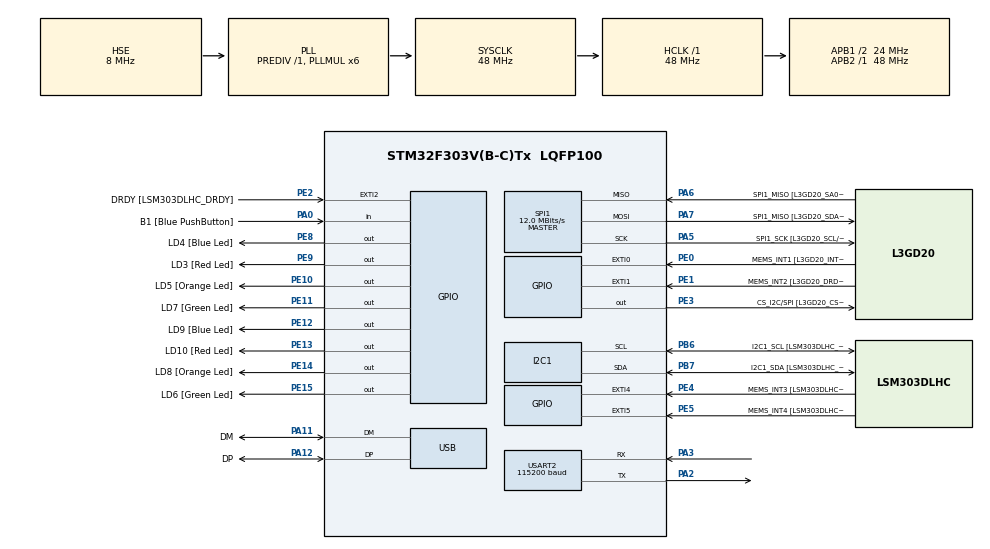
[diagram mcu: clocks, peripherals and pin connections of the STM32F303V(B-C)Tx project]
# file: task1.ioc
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I2C1.Timing=0x2000090E
I2C1.Timing-I2C=0x2000090E
Mcu.Family=STM32F3
Mcu.Name=STM32F303V(B-C)Tx
Mcu.Package=LQFP100
NVIC.PriorityGroup=NVIC_PRIORITYGROUP_0
PA0.GPIO_Label=B1 [Blue PushButton]
PA0.Signal=GPIO_Input
PA11.GPIO_Label=DM
PA11.Mode=Device
PA11.Signal=USB_DM
PA12.GPIO_Label=DP
PA12.Mode=Device
PA12.Signal=USB_DP
PA13.GPIO_Label=SWDIO
PA13.Mode=Serial_Wire
PA13.Signal=SYS_JTMS-SWDIO
PA14.GPIO_Label=SWCLK
PA14.Mode=Serial_Wire
PA14.Signal=SYS_JTCK-SWCLK
PA2.Mode=Asynchronous
PA2.Signal=USART2_TX
PA3.Mode=Asynchronous
PA3.Signal=USART2_RX
PA5.GPIO_Label=SPI1_SCK [L3GD20_SCL/SPC]
PA5.Mode=Full_Duplex_Master
PA5.Signal=SPI1_SCK
PA6.GPIO_Label=SPI1_MISO [L3GD20_SA0/SDO]
PA6.Mode=Full_Duplex_Master
PA6.Signal=SPI1_MISO
PA7.GPIO_Label=SPI1_MISO [L3GD20_SDA/SDI/SDO]
PA7.Mode=Full_Duplex_Master
PA7.Signal=SPI1_MOSI
PB3.GPIO_Label=SWO
PB3.Signal=SYS_JTDO-TRACESWO
PB6.GPIO_Label=I2C1_SCL [LSM303DLHC_SCL]
PB6.GPIO_Pu=GPIO_PULLUP
PB6.Mode=I2C
PB6.Signal=I2C1_SCL
PB7.GPIO_Label=I2C1_SDA [LSM303DLHC_SDA]
PB7.GPIO_Pu=GPIO_PULLUP
PB7.Mode=I2C
PB7.Signal=I2C1_SDA
PC14-OSC32_IN.GPIO_Label=OSC32_IN
PC14-OSC32_IN.Signal=RCC_OSC32_IN
PC15-OSC32_OUT.GPIO_Label=OSC32_OUT
PC15-OSC32_OUT.Signal=RCC_OSC32_OUT
PE0.GPIO_Label=MEMS_INT1 [L3GD20_INT1]
PE0.GPIO_ModeDefaultEXTI=GPIO_MODE_EVT_RISING
PE0.Signal=GPXTI0
PE1.GPIO_Label=MEMS_INT2 [L3GD20_DRDY/INT2]
PE1.GPIO_ModeDefaultEXTI=GPIO_MODE_EVT_RISING
PE1.Signal=GPXTI1
PE10.GPIO_Label=LD5 [Orange Led]
PE10.Signal=GPIO_Output
PE11.GPIO_Label=LD7 [Green Led]
PE11.Signal=GPIO_Output
PE12.GPIO_Label=LD9 [Blue Led]
PE12.Signal=GPIO_Output
PE13.GPIO_Label=LD10 [Red Led]
PE13.Signal=GPIO_Output
PE14.GPIO_Label=LD8 [Orange Led]
PE14.Signal=GPIO_Output
PE15.GPIO_Label=LD6 [Green Led]
PE15.Signal=GPIO_Output
PE2.GPIO_Label=DRDY [LSM303DLHC_DRDY]
PE2.GPIO_ModeDefaultEXTI=GPIO_MODE_EVT_RISING
PE2.Signal=GPXTI2
PE3.GPIO_Label=CS_I2C/SPI [L3GD20_CS_I2C/SPI]
PE3.Signal=GPIO_Output
PE4.GPIO_Label=MEMS_INT3 [LSM303DLHC_INT1]
PE4.GPIO_ModeDefaultEXTI=GPIO_MODE_EVT_RISING
PE4.Signal=GPXTI4
PE5.GPIO_Label=MEMS_INT4 [LSM303DLHC_INT2]
PE5.GPIO_ModeDefaultEXTI=GPIO_MODE_EVT_RISING
PE5.Signal=GPXTI5
PE8.GPIO_Label=LD4 [Blue Led]
PE8.Signal=GPIO_Output
PE9.GPIO_Label=LD3 [Red Led]
PE9.Signal=GPIO_Output
PF0-OSC_IN.GPIO_Label=OSC_IN
PF0-OSC_IN.Mode=HSE-External-Clock-Source
PF0-OSC_IN.Signal=RCC_OSC_IN
PF1-OSC_OUT.GPIO_Label=OSC_OUT
PF1-OSC_OUT.Signal=RCC_OSC_OUT
ProjectManager.HeapSize=0x200
ProjectManager.StackSize=0x400
ProjectManager.TargetToolchain=CMake
RCC.AHBFreq_Value=48000000
RCC.APB1CLKDivider=RCC_HCLK_DIV2
RCC.APB1Freq_Value=24000000
RCC.APB1TimFreq_Value=48000000
RCC.APB2Freq_Value=48000000
RCC.APB2TimFreq_Value=48000000
RCC.CortexFreq_Value=48000000
RCC.HCLKFreq_Value=48000000
RCC.HSE_VALUE=8000000
RCC.HSI_VALUE=8000000
RCC.LSE_VALUE=32768
RCC.PLLMUL=RCC_PLL_MUL6
RCC.SYSCLKFreq_VALUE=48000000
RCC.SYSCLKSourceVirtual=RCC_SYSCLKSOURCE_PLLCLK
RCC.USBFreq_Value=48000000
SPI1.BaudRatePrescaler=SPI_BAUDRATEPRESCALER_4
SPI1.BaudRatePrescaler-Full_Duplex_Master=SPI_BAUDRATEPRESCALER_2
SPI1.CalculateBaudRate=12.0 MBits/s
SPI1.CalculateBaudRate-Full_Duplex_Master=24.0 MBits/s
SPI1.Direction=SPI_DIRECTION_2LINES
SPI1.Mode=SPI_MODE_MASTER
SPI1.Mode-Full_Duplex_Master=SPI_MODE_MASTER
SPI1.VirtualType=VM_MASTER
USART2.BaudRate=115200
USART2.VirtualMode-Asynchronous=VM_ASYNC
board=STM32F3DISCOVERY

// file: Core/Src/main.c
/* USER CODE BEGIN Header */
/**
  ******************************************************************************
  * @file           : main.c
  * @brief          : Main program body
  ******************************************************************************
  * @attention
  *
  * Copyright (c) 2026 STMicroelectronics.
  * All rights reserved.
  *
  * This software is licensed under terms that can be found in the LICENSE file
  * in the root directory of this software component.
  * If no LICENSE file comes with this software, it is provided AS-IS.
  *
  ******************************************************************************
  */
/* USER CODE END Header */
#include "main.h"

/* USER CODE BEGIN Includes */
#include <stdio.h>
#include <stdlib.h>
#include <string.h>
/* USER CODE END Includes */

I2C_HandleTypeDef hi2c1;

SPI_HandleTypeDef hspi1;

UART_HandleTypeDef huart2;

PCD_HandleTypeDef hpcd_USB_FS;

void SystemClock_Config(void);
static void MX_GPIO_Init(void);
static void MX_I2C1_Init(void);
static void MX_SPI1_Init(void);
static void MX_USB_PCD_Init(void);
static void MX_USART2_UART_Init(void);

int main(void)
{

  /* MCU Configuration--------------------------------------------------------*/

  /* Reset of all peripherals, Initializes the Flash interface and the Systick. */
  HAL_Init();

  /* Configure the system clock */
  SystemClock_Config();

  /* Initialize all configured peripherals */
  MX_GPIO_Init();
  MX_I2C1_Init();
  MX_SPI1_Init();
  MX_USB_PCD_Init();
  MX_USART2_UART_Init();

  /* USER CODE BEGIN 2 */
  #define N 10
  int *arr1 = NULL;
  int *arr2 = NULL;
  char msg[100];

  // Allocate memory using malloc
  arr1 = (int *)malloc(N * sizeof(int));

  // Check if malloc was successful
  if (arr1 == NULL)
  {
    sprintf(msg, "malloc failed!\r\n");
    HAL_UART_Transmit(&huart2, (uint8_t*)msg, strlen(msg), HAL_MAX_DELAY);
  }
  else
  {
    sprintf(msg, "malloc array:\r\n");
    HAL_UART_Transmit(&huart2, (uint8_t*)msg, strlen(msg), HAL_MAX_DELAY);

    for (int i = 0; i < N; i++)
    {
        arr1[i] = i * 2;

        sprintf(msg, "%d ", arr1[i]);
        HAL_UART_Transmit(&huart2, (uint8_t*)msg, strlen(msg), HAL_MAX_DELAY);
    }
    sprintf(msg, "\r\n");
    HAL_UART_Transmit(&huart2, (uint8_t*)msg, strlen(msg), HAL_MAX_DELAY);
  }

  // Allocate memory using calloc
  arr2 = (int *)calloc(N, sizeof(int));

  if (arr2 == NULL)
  {
    sprintf(msg, "calloc failed!\r\n");
    HAL_UART_Transmit(&huart2, (uint8_t*)msg, strlen(msg), HAL_MAX_DELAY);
  }
  else
  {
    sprintf(msg, "calloc initial values:\r\n");
    HAL_UART_Transmit(&huart2, (uint8_t*)msg, strlen(msg), HAL_MAX_DELAY);

    for (int i = 0; i < N; i++)
    {
        sprintf(msg, "%d ", arr2[i]);
        HAL_UART_Transmit(&huart2, (uint8_t*)msg, strlen(msg), HAL_MAX_DELAY);
    }

    sprintf(msg, "\r\ncalloc after initialization:\r\n");
    HAL_UART_Transmit(&huart2, (uint8_t*)msg, strlen(msg), HAL_MAX_DELAY);

    for (int i = 0; i < N; i++)
    {
        arr2[i] = i + 1;

        sprintf(msg, "%d ", arr2[i]);
        HAL_UART_Transmit(&huart2, (uint8_t*)msg, strlen(msg), HAL_MAX_DELAY);
    }

    sprintf(msg, "\r\n");
    HAL_UART_Transmit(&huart2, (uint8_t*)msg, strlen(msg), HAL_MAX_DELAY);
  }

  // Free allocated memory
  free(arr1);
  free(arr2);

  // Clear pointers
  arr1 = NULL;
  arr2 = NULL;

  if (arr1 == NULL && arr2 == NULL)
  {
      sprintf(msg, "Memory freed and pointers cleared!\r\n");
      HAL_UART_Transmit(&huart2, (uint8_t*)msg, strlen(msg), HAL_MAX_DELAY);
  }
  /* USER CODE END 2 */

  /* Infinite loop */
  while (1)
  {

  }
}

void SystemClock_Config(void)
{
  RCC_OscInitTypeDef RCC_OscInitStruct = {0};
  RCC_ClkInitTypeDef RCC_ClkInitStruct = {0};
  RCC_PeriphCLKInitTypeDef PeriphClkInit = {0};

  /** Initializes the RCC Oscillators according to the specified parameters
  * in the RCC_OscInitTypeDef structure.
  */
  RCC_OscInitStruct.OscillatorType = RCC_OSCILLATORTYPE_HSI|RCC_OSCILLATORTYPE_HSE;
  RCC_OscInitStruct.HSEState = RCC_HSE_BYPASS;
  RCC_OscInitStruct.HSEPredivValue = RCC_HSE_PREDIV_DIV1;
  RCC_OscInitStruct.HSIState = RCC_HSI_ON;
  RCC_OscInitStruct.HSICalibrationValue = RCC_HSICALIBRATION_DEFAULT;
  RCC_OscInitStruct.PLL.PLLState = RCC_PLL_ON;
  RCC_OscInitStruct.PLL.PLLSource = RCC_PLLSOURCE_HSE;
  RCC_OscInitStruct.PLL.PLLMUL = RCC_PLL_MUL6;
  if (HAL_RCC_OscConfig(&RCC_OscInitStruct) != HAL_OK)
  {
    Error_Handler();
  }

  /** Initializes the CPU, AHB and APB buses clocks
  */
  RCC_ClkInitStruct.ClockType = RCC_CLOCKTYPE_HCLK|RCC_CLOCKTYPE_SYSCLK
                              |RCC_CLOCKTYPE_PCLK1|RCC_CLOCKTYPE_PCLK2;
  RCC_ClkInitStruct.SYSCLKSource = RCC_SYSCLKSOURCE_PLLCLK;
  RCC_ClkInitStruct.AHBCLKDivider = RCC_SYSCLK_DIV1;
  RCC_ClkInitStruct.APB1CLKDivider = RCC_HCLK_DIV2;
  RCC_ClkInitStruct.APB2CLKDivider = RCC_HCLK_DIV1;

  if (HAL_RCC_ClockConfig(&RCC_ClkInitStruct, FLASH_LATENCY_1) != HAL_OK)
  {
    Error_Handler();
  }
  PeriphClkInit.PeriphClockSelection = RCC_PERIPHCLK_USB|RCC_PERIPHCLK_USART2
                              |RCC_PERIPHCLK_I2C1;
  PeriphClkInit.Usart2ClockSelection = RCC_USART2CLKSOURCE_PCLK1;
  PeriphClkInit.I2c1ClockSelection = RCC_I2C1CLKSOURCE_HSI;
  PeriphClkInit.USBClockSelection = RCC_USBCLKSOURCE_PLL;
  if (HAL_RCCEx_PeriphCLKConfig(&PeriphClkInit) != HAL_OK)
  {
    Error_Handler();
  }
}

static void MX_I2C1_Init(void)
{

  hi2c1.Instance = I2C1;
  hi2c1.Init.Timing = 0x2000090E;
  hi2c1.Init.OwnAddress1 = 0;
  hi2c1.Init.AddressingMode = I2C_ADDRESSINGMODE_7BIT;
  hi2c1.Init.DualAddressMode = I2C_DUALADDRESS_DISABLE;
  hi2c1.Init.OwnAddress2 = 0;
  hi2c1.Init.OwnAddress2Masks = I2C_OA2_NOMASK;
  hi2c1.Init.GeneralCallMode = I2C_GENERALCALL_DISABLE;
  hi2c1.Init.NoStretchMode = I2C_NOSTRETCH_DISABLE;
  if (HAL_I2C_Init(&hi2c1) != HAL_OK)
  {
    Error_Handler();
  }

  /** Configure Analogue filter
  */
  if (HAL_I2CEx_ConfigAnalogFilter(&hi2c1, I2C_ANALOGFILTER_ENABLE) != HAL_OK)
  {
    Error_Handler();
  }

  /** Configure Digital filter
  */
  if (HAL_I2CEx_ConfigDigitalFilter(&hi2c1, 0) != HAL_OK)
  {
    Error_Handler();
  }

}

static void MX_SPI1_Init(void)
{

  /* SPI1 parameter configuration*/
  hspi1.Instance = SPI1;
  hspi1.Init.Mode = SPI_MODE_MASTER;
  hspi1.Init.Direction = SPI_DIRECTION_2LINES;
  hspi1.Init.DataSize = SPI_DATASIZE_4BIT;
  hspi1.Init.CLKPolarity = SPI_POLARITY_LOW;
  hspi1.Init.CLKPhase = SPI_PHASE_1EDGE;
  hspi1.Init.NSS = SPI_NSS_SOFT;
  hspi1.Init.BaudRatePrescaler = SPI_BAUDRATEPRESCALER_4;
  hspi1.Init.FirstBit = SPI_FIRSTBIT_MSB;
  hspi1.Init.TIMode = SPI_TIMODE_DISABLE;
  hspi1.Init.CRCCalculation = SPI_CRCCALCULATION_DISABLE;
  hspi1.Init.CRCPolynomial = 7;
  hspi1.Init.CRCLength = SPI_CRC_LENGTH_DATASIZE;
  hspi1.Init.NSSPMode = SPI_NSS_PULSE_ENABLE;
  if (HAL_SPI_Init(&hspi1) != HAL_OK)
  {
    Error_Handler();
  }

}

static void MX_USART2_UART_Init(void)
{

  huart2.Instance = USART2;
  huart2.Init.BaudRate = 115200;
  huart2.Init.WordLength = UART_WORDLENGTH_8B;
  huart2.Init.StopBits = UART_STOPBITS_1;
  huart2.Init.Parity = UART_PARITY_NONE;
  huart2.Init.Mode = UART_MODE_TX_RX;
  huart2.Init.HwFlowCtl = UART_HWCONTROL_NONE;
  huart2.Init.OverSampling = UART_OVERSAMPLING_16;
  huart2.Init.OneBitSampling = UART_ONE_BIT_SAMPLE_DISABLE;
  huart2.AdvancedInit.AdvFeatureInit = UART_ADVFEATURE_NO_INIT;
  if (HAL_UART_Init(&huart2) != HAL_OK)
  {
    Error_Handler();
  }

}

static void MX_USB_PCD_Init(void)
{

  hpcd_USB_FS.Instance = USB;
  hpcd_USB_FS.Init.dev_endpoints = 8;
  hpcd_USB_FS.Init.speed = PCD_SPEED_FULL;
  hpcd_USB_FS.Init.phy_itface = PCD_PHY_EMBEDDED;
  hpcd_USB_FS.Init.low_power_enable = DISABLE;
  hpcd_USB_FS.Init.battery_charging_enable = DISABLE;
  if (HAL_PCD_Init(&hpcd_USB_FS) != HAL_OK)
  {
    Error_Handler();
  }

}

static void MX_GPIO_Init(void)
{
  GPIO_InitTypeDef GPIO_InitStruct = {0};

  /* GPIO Ports Clock Enable */
  __HAL_RCC_GPIOE_CLK_ENABLE();
  __HAL_RCC_GPIOC_CLK_ENABLE();
  __HAL_RCC_GPIOF_CLK_ENABLE();
  __HAL_RCC_GPIOA_CLK_ENABLE();
  __HAL_RCC_GPIOB_CLK_ENABLE();

  /*Configure GPIO pin Output Level */
  HAL_GPIO_WritePin(GPIOE, CS_I2C_SPI_Pin|LD4_Pin|LD3_Pin|LD5_Pin
                          |LD7_Pin|LD9_Pin|LD10_Pin|LD8_Pin
                          |LD6_Pin, GPIO_PIN_RESET);

  /*Configure GPIO pins : DRDY_Pin MEMS_INT3_Pin MEMS_INT4_Pin MEMS_INT1_Pin
                           MEMS_INT2_Pin */
  GPIO_InitStruct.Pin = DRDY_Pin|MEMS_INT3_Pin|MEMS_INT4_Pin|MEMS_INT1_Pin
                          |MEMS_INT2_Pin;
  GPIO_InitStruct.Mode = GPIO_MODE_EVT_RISING;
  GPIO_InitStruct.Pull = GPIO_NOPULL;
  HAL_GPIO_Init(GPIOE, &GPIO_InitStruct);

  /*Configure GPIO pins : CS_I2C_SPI_Pin LD4_Pin LD3_Pin LD5_Pin
                           LD7_Pin LD9_Pin LD10_Pin LD8_Pin
                           LD6_Pin */
  GPIO_InitStruct.Pin = CS_I2C_SPI_Pin|LD4_Pin|LD3_Pin|LD5_Pin
                          |LD7_Pin|LD9_Pin|LD10_Pin|LD8_Pin
                          |LD6_Pin;
  GPIO_InitStruct.Mode = GPIO_MODE_OUTPUT_PP;
  GPIO_InitStruct.Pull = GPIO_NOPULL;
  GPIO_InitStruct.Speed = GPIO_SPEED_FREQ_LOW;
  HAL_GPIO_Init(GPIOE, &GPIO_InitStruct);

  /*Configure GPIO pin : B1_Pin */
  GPIO_InitStruct.Pin = B1_Pin;
  GPIO_InitStruct.Mode = GPIO_MODE_INPUT;
  GPIO_InitStruct.Pull = GPIO_NOPULL;
  HAL_GPIO_Init(B1_GPIO_Port, &GPIO_InitStruct);

}

void Error_Handler(void)
{
  __disable_irq();
  while (1)
  {
  }
}
